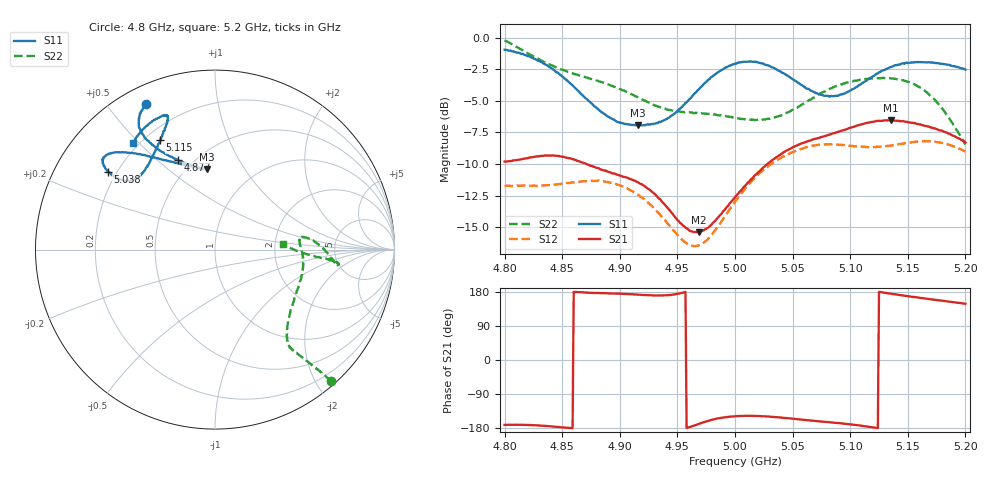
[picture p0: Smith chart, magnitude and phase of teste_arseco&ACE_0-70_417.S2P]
! Network Analyzer HP8722D
! Hewlett-Packard
! Data name: Linha & Wilkinson
! Saver's name: Rodrigo Anjos
! Comments: Teste da utilização de aquisição
! continua pelo VNA HP8722D
! Time and date: 8/5/2025 16:14
!  Frequency  S11  S21  S12  S22
# HZ  S  MA R 50
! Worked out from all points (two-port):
!   401 points, 4.8 GHz to 5.2 GHz, reference 50 ohm
!   highest |S21| = -6.52 dB at 5.135 GHz (marker M1); lowest = -15.4 dB at 4.969 GHz (marker M2)
!   |S21| within 3 dB of the highest: 4.82 GHz to 4.855 GHz (34.82 MHz wide, 0.72 % of centre); 5.035 GHz to end of sweep
!   lowest |S11| = -6.9 dB at 4.916 GHz (marker M3), VSWR 2.63, Z = 30.8 + j34.6 ohm
!   |S11| at or under -10 dB: nowhere
!   |S22| runs from -8.4 to -0.2 dB; largest |S21 - S12| = 0.83
!   S11 on the Smith chart (normalised r, x): 4.8 GHz: 0.08, +0.63; 4.877 GHz: 0.41, +0.58; 5.038 GHz: 0.17, +0.32; 5.115 GHz: 0.26, +0.59; 5.2 GHz: 0.18, +0.48
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4.8e9  0.8961 115.3  0.3236 -171.2  0.259 -86.5  0.9751 -48.4
4.833e9  0.7947 121.9  0.3411 -173.5  0.26 -77.8  0.8069 -50.5
4.848e9  0.7145 121.7  0.3393 -177.1  0.2636 -73.0  0.752 -51.4
4.867e9  0.5959 117.0  0.3211 178.5  0.2702 -68.5  0.7045 -52.3
4.877e9  0.541 112.7  0.3088 177.1  0.2714 -67.5  0.6827 -52.5
4.898e9  0.4646 101.4  0.2872 175.3  0.2616 -68.0  0.6321 -50.6
4.916e9  0.4498 95.9  0.2676 172.3  0.2387 -70.0  0.5801 -45.6
4.934e9  0.4643 100.5  0.2308 170.1  0.2021 -70.5  0.533 -36.3
4.956e9  0.5441 116.0  0.1786 178.8  0.1558 -59.5  0.5067 -22.1
4.969e9  0.628 124.7  0.17 -168.1  0.1511 -44.9  0.503 -14.5
5e9  0.7901 137.1  0.2333 -148.7  0.2246 -22.0  0.4817 -0.4
5.019e9  0.8021 141.4  0.29 -147.7  0.2836 -19.8  0.4728 5.7
5.038e9  0.7397 144.0  0.3417 -151.2  0.3315 -20.1  0.4896 8.2
5.067e9  0.6144 141.5  0.3953 -159.9  0.3736 -22.5  0.5744 3.1
5.088e9  0.59 132.3  0.4222 -165.9  0.378 -25.7  0.6444 -3.6
5.115e9  0.6815 116.6  0.461 -175.8  0.369 -28.5  0.6872 -7.2
5.134e9  0.7612 110.4  0.4703 175.6  0.3735 -30.6  0.6911 -6.4
5.135e9  0.7655 110.4  0.4721 175.1  0.3746 -30.6  0.6916 -6.5
5.147e9  0.7882 109.6  0.4658 169.7  0.3818 -33.3  0.6756 -5.6
5.162e9  0.8 112.4  0.4515 163.5  0.3894 -37.6  0.6301 -4.9
5.179e9  0.7895 118.4  0.4296 156.6  0.3837 -43.0  0.5309 -3.3
5.2e9  0.747 127.6  0.3853 148.4  0.3544 -48.7  0.3781 4.5
